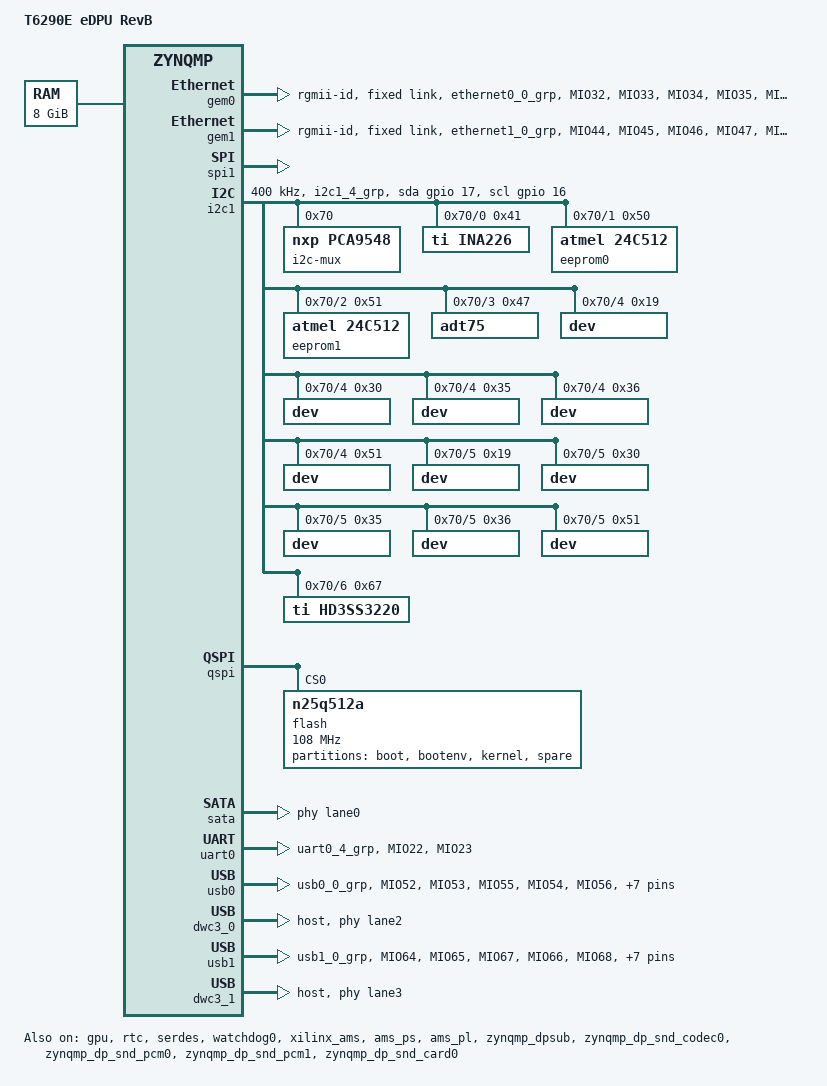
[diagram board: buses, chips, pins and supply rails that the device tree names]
// SPDX-License-Identifier: GPL-2.0+
/*
 * dts file for Xilinx ZynqMP ZCU102 RevA
 *
 * (C) Copyright 2015 - 2018, Xilinx, Inc.
 *
 * Michal Simek <michal.simek@xilinx.com>
 */

/dts-v1/;

#include "zynqmp.dtsi"
#include "zynqmp-clk-ccf.dtsi"
#include <dt-bindings/input/input.h>
#include <dt-bindings/gpio/gpio.h>
#include <dt-bindings/pinctrl/pinctrl-zynqmp.h>
#include <dt-bindings/phy/phy.h>

/ {
	model = "T6290E eDPU RevB";
	compatible = "xlnx,zynqmp";

	aliases {
		ethernet0 = &gem0;
		ethernet1 = &gem1;
		gpio0 = &gpio;
		i2c1 = &i2c1;
		rtc0 = &rtc;
		serial0 = &uart0;
		spi0 = &qspi;
		spi1 = &spi1;
		usb0 = &usb0;
		usb1 = &usb1;
	};

	chosen {
		bootargs = "earlycon";
		stdout-path = "serial0:115200n8";
	};

	memory {
		device_type = "memory";
		reg = <0x0 0x0 0x0 0x80000000>, <0x8 0x00000000 0x1 0x80000000>;
	};
};

&dcc {
	status = "disabled";
};

&fpd_dma_chan1 {
	status = "okay";
};

&fpd_dma_chan2 {
	status = "okay";
};

&fpd_dma_chan3 {
	status = "okay";
};

&fpd_dma_chan4 {
	status = "okay";
};

&fpd_dma_chan5 {
	status = "okay";
};

&fpd_dma_chan6 {
	status = "okay";
};

&fpd_dma_chan7 {
	status = "okay";
};

&fpd_dma_chan8 {
	status = "okay";
};

&lpd_dma_chan1 {
	status = "okay";
};

&lpd_dma_chan2 {
	status = "okay";
};

&lpd_dma_chan3 {
	status = "okay";
};

&lpd_dma_chan4 {
	status = "okay";
};

&lpd_dma_chan5 {
	status = "okay";
};

&lpd_dma_chan6 {
	status = "okay";
};

&lpd_dma_chan7 {
	status = "okay";
};

&lpd_dma_chan8 {
	status = "okay";
};

&gem0 {
	status = "okay";
	/*phy-handle = <&phy0>;*/
	phy-mode = "rgmii-id";
	pinctrl-names = "default";
	pinctrl-0 = <&pinctrl_gem0_default>;
	/*
	phy0: phy@21 {
		reg = <21>;
		ti,rx-internal-delay = <0x8>;
		ti,tx-internal-delay = <0xa>;
		ti,fifo-depth = <0x1>;
		ti,rxctrl-strap-worka;
	};*/
	fixed-link {
		speed = <1000>;
		full-duplex;
		pause;
		asym-pause;
	};
};

&gem1 {
	status = "okay";
	/*phy-handle = <&phy1>; */
	phy-mode = "rgmii-id";
	pinctrl-names = "default";
	pinctrl-0 = <&pinctrl_gem1_default>;
	/*
	phy1: phy@21 {
		reg = <21>;
		ti,rx-internal-delay = <0x8>;
		ti,tx-internal-delay = <0xa>;
		ti,fifo-depth = <0x1>;
		ti,rxctrl-strap-worka;
	};*/
	fixed-link {
		speed = <1000>;
		full-duplex;
		pause;
		asym-pause;
	};
};

&gpio {
	status = "okay";
	pinctrl-names = "default";
	pinctrl-0 = <&pinctrl_gpio_default>;
};


&spi1 {
	status = "okay";
	is-decoded-cs = <0>;
	num-cs = <1>;
};

&gpu {
	status = "okay";
};

&i2c1 {
	status = "okay";
	clock-frequency = <400000>;
	pinctrl-names = "default", "gpio";
	pinctrl-0 = <&pinctrl_i2c1_default>;
	pinctrl-1 = <&pinctrl_i2c1_gpio>;
	scl-gpios = <&gpio 16 GPIO_ACTIVE_HIGH>;
	sda-gpios = <&gpio 17 GPIO_ACTIVE_HIGH>;

	i2c-mux@70 { /* A2A1A0=000 */
		compatible = "nxp,pca9548";
		#address-cells = <1>;
		#size-cells = <0>;
		reg = <0x70>;
		i2c@0 {
			#address-cells = <1>;
			#size-cells = <0>;
			reg = <0>;
			ina226@41 {  /* D31, +12V EPSU */
				compatible = "ti,ina226";
				reg = <0x41>;
				shunt-resistor = <5000>;
			};
		};
		i2c@1 {
			#address-cells = <1>;
			#size-cells = <0>;
			reg = <1>;
			eeprom0: eeprom@50 { /* D7, DSP1-EEPROM */
				compatible = "atmel,24c512";
				reg = <0x50>;
			};
		};
		i2c@2 {
			#address-cells = <1>;
			#size-cells = <0>;
			reg = <2>;
			eeprom1: eeprom@51 { /* D6, DSP2-EEPROM */
				compatible = "atmel,24c512";
				reg = <0x51>;
			};
		};
		i2c@3 {
			#address-cells = <1>;
			#size-cells = <0>;
			reg = <3>;
			adt75: adt75@47 { /* N1 */
				compatible = "adt75";
				reg = <0x47>;
			};
		};
		i2c@4 {
			#address-cells = <1>;
			#size-cells = <0>;
			reg = <4>;
			/* PS DDR4 SODIMM */
			dev@19 {
				reg = <0x19>;
			};
			dev@30 {
				reg = <0x30>;
			};
			dev@35 {
				reg = <0x35>;
			};
			dev@36 {
				reg = <0x36>;
			};
			dev@51 {
				reg = <0x51>;
			};
		};
		i2c@5 {
			#address-cells = <1>;
			#size-cells = <0>;
			reg = <5>;
			/* PL DDR4 SODIMM */
			dev@19 {
				reg = <0x19>;
			};
			dev@30 {
				reg = <0x30>;
			};
			dev@35 {
				reg = <0x35>;
			};
			dev@36 {
				reg = <0x36>;
			};
			dev@51 {
				reg = <0x51>;
			};
		};
		i2c@6 {
			#address-cells = <1>;
			#size-cells = <0>;
			reg = <6>;
			hd3ss3220@67 {
				compatible = "ti,hd3ss3220";
				reg = <0x67>;
			};
		};
		i2c@7 {
			#address-cells = <1>;
			#size-cells = <0>;
			reg = <7>;
			/* QSFP */
		};

	};
};

&pinctrl0 {
	status = "okay";
	pinctrl_i2c1_default: i2c1-default {
		mux {
			groups = "i2c1_4_grp";
			function = "i2c1";
		};

		conf {
			groups = "i2c1_4_grp";
			bias-pull-up;
			slew-rate = <SLEW_RATE_SLOW>;
			io-standard = <IO_STANDARD_LVCMOS18>;
		};
	};

	pinctrl_i2c1_gpio: i2c1-gpio {
		mux {
			groups = "gpio0_16_grp", "gpio0_17_grp";
			function = "gpio0";
		};

		conf {
			groups = "gpio0_16_grp", "gpio0_17_grp";
			slew-rate = <SLEW_RATE_SLOW>;
			io-standard = <IO_STANDARD_LVCMOS18>;
		};
	};

	pinctrl_uart0_default: uart0-default {
		mux {
			groups = "uart0_4_grp";
			function = "uart0";
		};

		conf {
			groups = "uart0_4_grp";
			slew-rate = <SLEW_RATE_SLOW>;
			io-standard = <IO_STANDARD_LVCMOS18>;
		};

		conf-rx {
			pins = "MIO22";
			bias-high-impedance;
		};

		conf-tx {
			pins = "MIO23";
			bias-disable;
		};
	};

	pinctrl_usb0_default: usb0-default {
		mux {
			groups = "usb0_0_grp";
			function = "usb0";
		};

		conf {
			groups = "usb0_0_grp";
			slew-rate = <SLEW_RATE_SLOW>;
			io-standard = <IO_STANDARD_LVCMOS18>;
		};

		conf-rx {
			pins = "MIO52", "MIO53", "MIO55";
			bias-high-impedance;
		};

		conf-tx {
			pins = "MIO54", "MIO56", "MIO57", "MIO58", "MIO59",
			       "MIO60", "MIO61", "MIO62", "MIO63";
			bias-disable;
		};
	};

	pinctrl_usb1_default: usb1-default {
		mux {
			groups = "usb1_0_grp";
			function = "usb1";
		};

		conf {
			groups = "usb1_0_grp";
			slew-rate = <SLEW_RATE_SLOW>;
			io-standard = <IO_STANDARD_LVCMOS18>;
		};

		conf-rx {
			pins = "MIO64", "MIO65", "MIO67";
			bias-high-impedance;
		};

		conf-tx {
			pins = "MIO66", "MIO68", "MIO69", "MIO70", "MIO71",
			       "MIO72", "MIO73", "MIO74", "MIO75";
			bias-disable;
		};
	};

	pinctrl_gem0_default: gem0-default {
		mux {
			function = "ethernet0";
			groups = "ethernet0_0_grp";
		};

		conf {
			groups = "ethernet0_0_grp";
			slew-rate = <SLEW_RATE_SLOW>;
			io-standard = <IO_STANDARD_LVCMOS18>;
		};

		conf-rx {
			pins = "MIO32", "MIO33", "MIO34", "MIO35", "MIO36",
									"MIO37";
			bias-high-impedance;
			low-power-disable;
		};

		conf-tx {
			pins = "MIO26", "MIO27", "MIO28", "MIO29", "MIO30",
									"MIO31";
			bias-disable;
			low-power-enable;
		};

		mux-mdio {
			function = "mdio0";
			groups = "mdio0_0_grp";
		};

		conf-mdio {
			groups = "mdio0_0_grp";
			slew-rate = <SLEW_RATE_SLOW>;
			io-standard = <IO_STANDARD_LVCMOS18>;
			bias-disable;
		};
	};

	pinctrl_gem1_default: gem1-default {
		mux {
			function = "ethernet1";
			groups = "ethernet1_0_grp";
		};

		conf {
			groups = "ethernet1_0_grp";
			slew-rate = <SLEW_RATE_SLOW>;
			io-standard = <IO_STANDARD_LVCMOS18>;
		};

		conf-rx {
			pins = "MIO44", "MIO45", "MIO46", "MIO47", "MIO48",
									"MIO49";
			bias-high-impedance;
			low-power-disable;
		};

		conf-tx {
			pins = "MIO38", "MIO39", "MIO40", "MIO41", "MIO42",
									"MIO43";
			bias-disable;
			low-power-enable;
		};

		mux-mdio {
			function = "mdio1";
			groups = "mdio1_0_grp";
		};

		conf-mdio {
			groups = "mdio1_0_grp";
			slew-rate = <SLEW_RATE_SLOW>;
			io-standard = <IO_STANDARD_LVCMOS18>;
			bias-disable;
		};
	};

	pinctrl_gpio_default: gpio-default {
		mux-sw {
			function = "gpio0";
			groups = "gpio0_7_grp", "gpio0_8_grp";
		};

		conf-sw {
			groups = "gpio0_7_grp", "gpio0_8_grp";
			slew-rate = <SLEW_RATE_SLOW>;
			io-standard = <IO_STANDARD_LVCMOS18>;
		};

		mux-msp {
			function = "gpio0";
			groups = "gpio0_12_grp", "gpio0_13_grp";
		};

		conf-msp {
			groups = "gpio0_12_grp", "gpio0_13_grp";
			slew-rate = <SLEW_RATE_SLOW>;
			io-standard = <IO_STANDARD_LVCMOS18>;
		};

		conf-pull-up {
			pins = "MIO14", "MIO15";
			bias-pull-up;
		};

		conf-pull-none {
			pins = "MIO18", "MIO19";
			bias-disable;
		};
	};
};

&qspi {
	status = "okay";
	is-dual = <0>;
	spi-rx-bus-width = <0x4>;
	spi-tx-bus-width = <0x4>;	
	flash@0 {
		compatible = "n25q512a", "micron,m25p80";
		#address-cells = <1>;
		#size-cells = <1>;
		spi-max-frequency = <108000000>; /* Based on DC1 spec */
		reg = <0x0>;				
		partition@0x00000000 {
			label = "boot";
			reg = <0x0 0x1000000>;
		};

		partition@0x01000000 {
			label = "bootenv";
			reg = <0x1000000 0x40000>;
		};

		partition@0x01040000 {
			label = "kernel";
			reg = <0x1040000 0x1000000>;
		};

		partition@0x02040000 {
			label = "spare";
			reg = <0x2040000 0x0>;
		};		
	};
};

&rtc {
	status = "okay";
};

&sata {
	status = "okay";
	/* SATA OOB timing settings */
	ceva,p0-cominit-params = /bits/ 8 <0x18 0x40 0x18 0x28>;
	ceva,p0-comwake-params = /bits/ 8 <0x06 0x14 0x08 0x0E>;
	ceva,p0-burst-params = /bits/ 8 <0x13 0x08 0x4A 0x06>;
	ceva,p0-retry-params = /bits/ 16 <0x96A4 0x3FFC>;
	ceva,p1-cominit-params = /bits/ 8 <0x18 0x40 0x18 0x28>;
	ceva,p1-comwake-params = /bits/ 8 <0x06 0x14 0x08 0x0E>;
	ceva,p1-burst-params = /bits/ 8 <0x13 0x08 0x4A 0x06>;
	ceva,p1-retry-params = /bits/ 16 <0x96A4 0x3FFC>;
	phy-names = "sata-phy";
	phys = <&lane0 PHY_TYPE_SATA 0 1 125000000>;
};


&serdes {
	status = "okay";
};

&uart0 {
	status = "okay";
	pinctrl-names = "default";
	pinctrl-0 = <&pinctrl_uart0_default>;
};

/* ULPI SMSC USB3320 */
&usb0 {
	status = "okay";
	pinctrl-names = "default";
	pinctrl-0 = <&pinctrl_usb0_default>;
};

&dwc3_0 {
	status = "okay";
	dr_mode = "host";
	snps,usb3_lpm_capable;
	phy-names = "usb3-phy";
	phys = <&lane2 PHY_TYPE_USB3 0 2 26000000>;
	maximum-speed = "super-speed";
};

&usb1 {
	status = "okay";
	pinctrl-names = "default";
	pinctrl-0 = <&pinctrl_usb1_default>;
};

&dwc3_1 {
	status = "okay";
	dr_mode = "host";
	snps,usb3_lpm_capable;
	phy-names = "usb3-phy";
	phys = <&lane3 PHY_TYPE_USB3 0 2 26000000>;
	maximum-speed = "super-speed";
};

&watchdog0 {
	status = "okay";
};

&xilinx_ams {
	status = "okay";
};

&ams_ps {
	status = "okay";
};

&ams_pl {
	status = "okay";
};

&zynqmp_dpsub {
	status = "okay";
	phy-names = "dp-phy0";
	phys = <&lane1 PHY_TYPE_DP 0 1 27000000>;
};

&zynqmp_dp_snd_codec0 {
	status = "okay";
};

&zynqmp_dp_snd_pcm0 {
	status = "okay";
};

&zynqmp_dp_snd_pcm1 {
	status = "okay";
};

&zynqmp_dp_snd_card0 {
	status = "okay";
};

&xlnx_dpdma {
	status = "okay";
};
